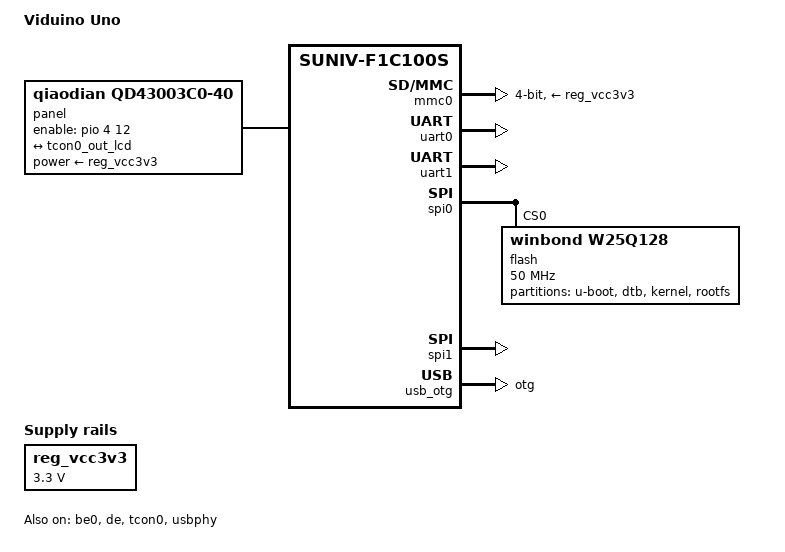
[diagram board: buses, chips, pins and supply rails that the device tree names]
// SPDX-License-Identifier: (GPL-2.0+ OR X11)
/*
 * Copyright 2018 Icenowy Zheng <icenowy@aosc.io>
 */

/dts-v1/;
#include "suniv-f1c100s.dtsi"
#include <dt-bindings/gpio/gpio.h>

/ {
	model = "Viduino Uno";
	compatible = "viduino,viduino-uno", "allwinner,suniv-f1c100s";

	aliases {
		serial1 = &uart1;
		spi0 = &spi0;
	};

	chosen {
		stdout-path = "serial1:115200n8";
	};

	panel: panel {
		compatible = "qiaodian,qd43003c0-40", "simple-panel";
		#address-cells = <1>;
		#size-cells = <0>;
		enable-gpios = <&pio 4 12 GPIO_ACTIVE_HIGH>;
		power-supply = <&reg_vcc3v3>;

 		port@0 {
			reg = <0>;
			#address-cells = <1>;
			#size-cells = <0>;

 			panel_input: endpoint@0 {
				reg = <0>;
				remote-endpoint = <&tcon0_out_lcd>;
			};
		};
	};

	reg_vcc3v3: vcc3v3 {
		compatible = "regulator-fixed";
		regulator-name = "vcc3v3";
		regulator-min-microvolt = <3300000>;
		regulator-max-microvolt = <3300000>;
	};
};

&be0 {
	status = "okay";
};

&de {
	status = "okay";
};

&tcon0 {
	pinctrl-names = "default";
	pinctrl-0 = <&lcd_rgb565_pins>;
	status = "okay";
};

&tcon0_out {
	tcon0_out_lcd: endpoint@0 {
		reg = <0>;
		remote-endpoint = <&panel_input>;
	};
};

&mmc0 {
	vmmc-supply = <&reg_vcc3v3>;
	bus-width = <4>;
	broken-cd;
	status = "okay";
};

&otg_sram {
	status = "okay";
};

&uart0 {
	pinctrl-names = "default";
	pinctrl-0 = <&uart0_pe_pins>;
	status = "okay";
};

&uart1 {
	pinctrl-names = "default";
	pinctrl-0 = <&uart1_pa_pins>;
	status = "okay";
};

&spi0 {
  pinctrl-names = "default";
  pinctrl-0 = <&spi0_pc_pins>;
  status = "okay";
  flash@0 {
    #address-cells = <1>;
    #size-cells = <1>;
    compatible = "winbond,w25q128", "jedec,spi-nor";
    reg = <0>;
    spi-max-frequency = <50000000>;
    partitions {
      compatible = "fixed-partitions";
      #address-cells = <1>;
      #size-cells = <1>;

      partition@0 {
        label = "u-boot";
        reg = <0x000000 0x100000>;
        read-only;
      };

      partition@100000 {
        label = "dtb";
        reg = <0x100000 0x10000>;
        read-only;
      };

      partition@110000 {
        label = "kernel";
        reg = <0x110000 0x4f0000>;
        read-only;
      };

      partition@600000 {
        label = "rootfs";
        reg = <0x600000 0xA00000>;
      };
    };
  };
};

&spi1 {
  pinctrl-names = "default";
  pinctrl-0 = <&spi1_pe_pins>;
  status = "okay";
};

&usb_otg {
	dr_mode = "otg";	// peripheral | otg | host
	status = "okay";
};

&usbphy {
	usb0_id_det-gpio = <&pio 4 11 GPIO_ACTIVE_HIGH>; /* PE11 */
	status = "okay";
};
